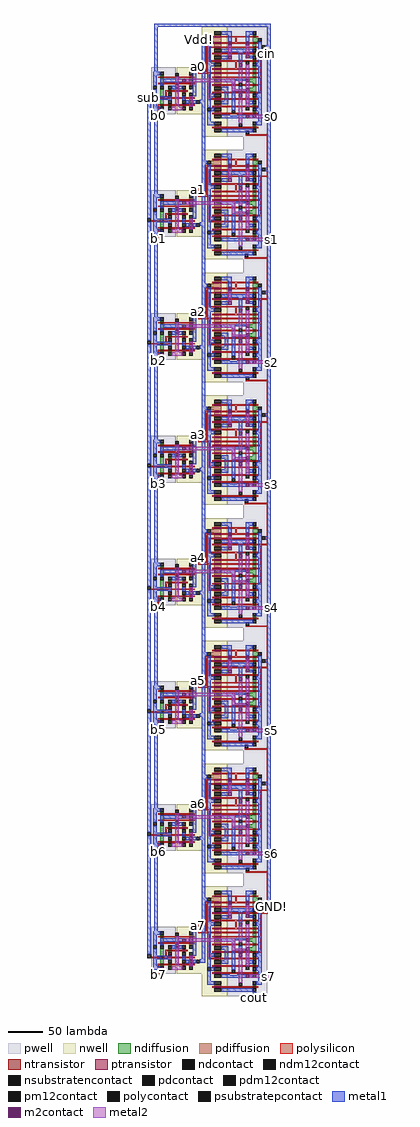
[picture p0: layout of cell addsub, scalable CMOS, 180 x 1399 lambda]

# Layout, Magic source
magic
tech scmos
<< pwell >>
rect -7 1117 -5 1119
rect 1 1107 3 1109
rect -7 941 -5 943
rect -7 765 -5 767
rect -7 589 -5 591
rect -7 413 -5 415
rect -7 237 -5 239
rect -7 61 -5 63
rect 124 -161 158 1220
rect 124 -169 126 -161
<< polysilicon >>
rect 155 1181 160 1183
rect 59 1155 61 1165
rect 59 1153 67 1155
rect -9 1117 3 1119
rect 1 1092 3 1109
rect 127 1064 159 1066
rect 157 1007 159 1064
rect 155 1005 159 1007
rect 59 979 61 989
rect 59 977 67 979
rect -9 941 3 943
rect 1 916 3 933
rect 126 888 159 890
rect 157 831 159 888
rect 155 829 159 831
rect 59 803 61 813
rect 59 801 67 803
rect -9 765 3 767
rect 1 740 3 757
rect 127 712 159 714
rect 157 655 159 712
rect 155 653 159 655
rect 59 627 61 637
rect 59 625 67 627
rect -9 589 3 591
rect 1 564 3 581
rect 126 536 159 538
rect 157 479 159 536
rect 155 477 159 479
rect 59 451 61 461
rect 59 449 67 451
rect -9 413 3 415
rect 1 388 3 405
rect 127 360 159 362
rect 157 303 159 360
rect 155 301 159 303
rect 59 275 61 285
rect 59 273 67 275
rect -9 237 3 239
rect 1 212 3 229
rect 126 184 159 186
rect 157 127 159 184
rect 155 125 159 127
rect 59 99 61 109
rect 59 97 67 99
rect -9 61 3 63
rect 1 36 3 53
rect 127 8 159 10
rect 157 -49 159 8
rect 155 -51 159 -49
rect 59 -77 61 -67
rect 59 -79 67 -77
rect -8 -115 3 -113
rect 1 -140 3 -123
<< polycontact >>
rect -14 1117 -9 1122
rect 127 1066 132 1071
rect -14 941 -9 946
rect 126 890 131 895
rect -14 765 -9 770
rect 127 714 132 719
rect -14 589 -9 594
rect 126 538 131 543
rect -14 413 -9 418
rect 127 362 132 367
rect -14 237 -9 242
rect 126 186 131 191
rect -14 61 -9 66
rect 127 10 132 15
rect -14 -115 -8 -109
<< metal1 >>
rect -4 1220 163 1225
rect -4 1155 1 1220
rect 59 1199 72 1204
rect -14 946 -9 1117
rect 64 1116 69 1199
rect 158 1194 163 1220
rect 155 1189 163 1194
rect 61 1111 69 1116
rect -4 979 1 1106
rect 64 1028 69 1111
rect 64 1023 72 1028
rect -14 770 -9 941
rect 64 940 69 1023
rect 158 1018 163 1189
rect 155 1013 163 1018
rect 61 935 69 940
rect -4 803 1 930
rect 64 852 69 935
rect 64 847 72 852
rect -14 594 -9 765
rect 64 764 69 847
rect 158 842 163 1013
rect 155 837 163 842
rect 61 759 69 764
rect -4 627 1 754
rect 64 676 69 759
rect 64 671 72 676
rect -14 418 -9 589
rect 64 588 69 671
rect 158 666 163 837
rect 155 661 163 666
rect 61 583 69 588
rect -4 451 1 578
rect 64 500 69 583
rect 64 495 72 500
rect -14 242 -9 413
rect 64 412 69 495
rect 158 490 163 661
rect 155 485 163 490
rect 61 407 69 412
rect -4 275 1 402
rect 64 324 69 407
rect 64 319 72 324
rect -14 66 -9 237
rect 64 236 69 319
rect 158 314 163 485
rect 155 309 163 314
rect 61 231 69 236
rect -4 99 1 226
rect 64 148 69 231
rect 64 143 72 148
rect -14 -109 -9 61
rect 64 60 69 143
rect 158 138 163 309
rect 155 133 163 138
rect 61 55 69 60
rect -4 -77 1 50
rect 64 -28 69 55
rect 64 -33 72 -28
rect 64 -116 69 -33
rect 158 -38 163 133
rect 155 -43 166 -38
rect 61 -121 69 -116
rect 137 -174 142 -163
<< m2contact >>
rect 36 1141 41 1146
rect 127 1089 132 1094
rect 36 965 41 970
rect 127 913 132 918
rect 36 789 41 794
rect 127 737 132 742
rect 36 613 41 618
rect 127 561 132 566
rect 36 437 41 442
rect 127 385 132 390
rect 36 261 41 266
rect 127 209 132 214
rect 36 85 41 90
rect 127 33 132 38
rect 36 -91 41 -86
rect 127 -143 132 -138
<< metal2 >>
rect 41 1141 67 1146
rect 132 1089 166 1094
rect 41 965 68 970
rect 132 913 166 918
rect 41 789 67 794
rect 132 737 166 742
rect 41 613 67 618
rect 132 561 166 566
rect 41 437 67 442
rect 132 385 166 390
rect 41 261 67 266
rect 132 209 166 214
rect 41 85 67 90
rect 132 33 166 38
rect 41 -91 67 -86
rect 132 -143 161 -138
use addsub_one  addsub_one_7
transform 0 -1 101 -1 0 -7
box 5 -57 162 37
use xor  xor_7
transform 0 1 47 1 0 -192
box 55 -55 122 17
use addsub_one  addsub_one_6
transform 0 -1 101 -1 0 169
box 5 -57 162 37
use xor  xor_6
transform 0 1 47 1 0 -16
box 55 -55 122 17
use xor  xor_5
transform 0 1 47 1 0 160
box 55 -55 122 17
use addsub_one  addsub_one_5
transform 0 -1 101 -1 0 345
box 5 -57 162 37
use xor  xor_4
transform 0 1 47 1 0 336
box 55 -55 122 17
use addsub_one  addsub_one_4
transform 0 -1 101 -1 0 521
box 5 -57 162 37
use addsub_one  addsub_one_3
transform 0 -1 101 -1 0 697
box 5 -57 162 37
use xor  xor_3
transform 0 1 47 1 0 512
box 55 -55 122 17
use addsub_one  addsub_one_2
transform 0 -1 101 -1 0 873
box 5 -57 162 37
use xor  xor_2
transform 0 1 47 1 0 688
box 55 -55 122 17
use addsub_one  addsub_one_1
transform 0 -1 101 -1 0 1049
box 5 -57 162 37
use xor  xor_1
transform 0 1 47 1 0 864
box 55 -55 122 17
use addsub_one  addsub_one_0
transform 0 -1 101 -1 0 1225
box 5 -57 162 37
use xor  xor_0
transform 0 1 47 1 0 1040
box 55 -55 122 17
<< labels >>
rlabel metal2 163 561 166 566 7 s3
rlabel polysilicon 59 634 61 637 7 a3
rlabel polysilicon 1 564 3 567 7 b3
rlabel metal2 163 385 166 390 7 s4
rlabel polysilicon 59 458 61 461 7 a4
rlabel polysilicon 1 388 3 391 7 b4
rlabel metal2 163 209 166 214 7 s5
rlabel polysilicon 59 282 61 285 7 a5
rlabel polysilicon 1 212 3 215 7 b5
rlabel metal2 163 1089 166 1094 7 s0
rlabel metal1 59 1199 64 1204 3 Vdd!
rlabel polysilicon 59 1162 61 1165 7 a0
rlabel polysilicon 1 1092 3 1095 7 b0
rlabel metal2 163 913 166 918 7 s1
rlabel polysilicon 59 986 61 989 7 a1
rlabel polysilicon 1 916 3 919 7 b1
rlabel metal2 163 737 166 742 7 s2
rlabel polysilicon 59 810 61 813 7 a2
rlabel polysilicon 1 740 3 743 7 b2
rlabel metal2 163 33 166 38 7 s6
rlabel polysilicon 59 106 61 109 7 a6
rlabel polysilicon 1 36 3 39 7 b6
rlabel metal1 137 -174 142 -169 1 cout
rlabel metal2 158 -143 161 -138 7 s7
rlabel metal1 163 -43 166 -38 7 GND!
rlabel polysilicon 59 -70 61 -67 7 a7
rlabel polysilicon 1 -140 3 -137 7 b7
rlabel polysilicon 155 1181 158 1183 1 cin
rlabel polycontact -14 1117 -9 1122 3 sub
<< end >>

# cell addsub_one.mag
magic
tech scmos
<< nwell >>
rect 5 0 162 37
<< pwell >>
rect 5 -57 162 0
<< ntransistor >>
rect 18 -41 20 -36
rect 27 -41 29 -36
rect 33 -41 35 -36
rect 42 -41 44 -36
rect 53 -41 55 -36
rect 64 -41 66 -36
rect 70 -41 72 -36
rect 76 -41 78 -36
rect 87 -41 89 -36
rect 98 -41 100 -36
rect 107 -41 109 -36
rect 118 -41 120 -36
rect 128 -41 130 -36
rect 148 -41 150 -36
<< ptransistor >>
rect 18 9 20 19
rect 27 9 29 19
rect 33 9 35 19
rect 42 9 44 19
rect 53 9 55 19
rect 64 9 66 19
rect 70 9 72 19
rect 76 9 78 19
rect 87 9 89 19
rect 98 9 100 19
rect 107 9 109 19
rect 118 9 120 19
rect 128 9 130 19
rect 148 9 150 19
<< ndiffusion >>
rect 79 -36 84 -31
rect 92 -36 97 -31
rect 16 -41 18 -36
rect 20 -41 27 -36
rect 29 -41 33 -36
rect 35 -41 36 -36
rect 41 -41 42 -36
rect 44 -41 46 -36
rect 51 -41 53 -36
rect 55 -41 56 -36
rect 61 -41 64 -36
rect 66 -41 70 -36
rect 72 -41 76 -36
rect 78 -41 87 -36
rect 89 -41 98 -36
rect 100 -41 101 -36
rect 106 -41 107 -36
rect 109 -41 111 -36
rect 116 -41 118 -36
rect 120 -41 121 -36
rect 126 -41 128 -36
rect 130 -41 131 -36
rect 146 -41 148 -36
rect 150 -41 151 -36
rect 21 -44 26 -41
<< pdiffusion >>
rect 21 19 26 24
rect 16 9 18 19
rect 20 9 27 19
rect 29 9 33 19
rect 35 9 36 19
rect 41 9 42 19
rect 44 9 46 19
rect 51 9 53 19
rect 55 9 56 19
rect 61 9 64 19
rect 66 9 70 19
rect 72 9 76 19
rect 78 9 79 19
rect 84 9 87 19
rect 89 9 91 19
rect 96 9 98 19
rect 100 9 101 19
rect 106 9 107 19
rect 109 9 111 19
rect 116 9 118 19
rect 120 9 121 19
rect 126 9 128 19
rect 130 9 131 19
rect 146 9 148 19
rect 150 9 151 19
<< ndcontact >>
rect 79 -31 84 -26
rect 92 -31 97 -26
rect 11 -41 16 -36
rect 36 -41 41 -36
rect 46 -41 51 -36
rect 56 -41 61 -36
rect 101 -41 106 -36
rect 111 -41 116 -36
rect 121 -41 126 -36
rect 131 -41 136 -36
rect 141 -41 146 -36
rect 151 -41 156 -36
rect 21 -49 26 -44
<< pdcontact >>
rect 21 24 26 29
rect 11 9 16 19
rect 36 9 41 19
rect 46 9 51 19
rect 56 9 61 19
rect 79 9 84 19
rect 91 9 96 19
rect 101 9 106 19
rect 111 9 116 19
rect 121 9 126 19
rect 131 9 136 19
rect 141 9 146 19
rect 151 9 156 19
<< psubstratepcontact >>
rect 31 -54 36 -49
<< nsubstratencontact >>
rect 121 24 126 29
<< polysilicon >>
rect 70 32 72 34
rect 27 30 72 32
rect 18 19 20 22
rect 27 19 29 30
rect 70 27 72 30
rect 33 25 55 27
rect 33 19 35 25
rect 42 19 44 22
rect 53 19 55 25
rect 70 25 109 27
rect 64 19 66 22
rect 70 19 72 25
rect 76 19 78 22
rect 87 19 89 22
rect 98 19 100 22
rect 107 19 109 25
rect 118 19 120 22
rect 128 19 130 22
rect 148 19 150 22
rect 18 -11 20 9
rect 27 -11 29 9
rect 18 -13 29 -11
rect 18 -36 20 -13
rect 27 -36 29 -13
rect 33 -36 35 9
rect 42 -36 44 9
rect 53 -11 55 9
rect 64 -11 66 9
rect 53 -13 66 -11
rect 53 -26 55 -13
rect 53 -31 54 -26
rect 53 -36 55 -31
rect 64 -36 66 -13
rect 70 -36 72 9
rect 76 -36 78 9
rect 87 -16 89 9
rect 87 -36 89 -21
rect 98 -36 100 9
rect 107 -36 109 9
rect 118 -26 120 9
rect 128 -6 130 9
rect 129 -11 130 -6
rect 118 -31 119 -26
rect 118 -36 120 -31
rect 128 -36 130 -11
rect 148 -36 150 9
rect 18 -44 20 -41
rect 27 -44 29 -41
rect 33 -44 35 -41
rect 42 -47 44 -41
rect 53 -44 55 -41
rect 64 -44 66 -41
rect 70 -44 72 -41
rect 76 -47 78 -41
rect 87 -44 89 -41
rect 98 -47 100 -41
rect 107 -44 109 -41
rect 118 -44 120 -41
rect 128 -44 130 -41
rect 148 -44 150 -41
rect 42 -49 100 -47
rect 42 -54 44 -49
<< polycontact >>
rect 124 -11 129 -6
<< metal1 >>
rect 26 24 121 29
rect 126 24 146 29
rect 56 19 61 24
rect 101 19 106 24
rect 121 19 126 24
rect 141 19 146 24
rect 11 -1 16 9
rect 11 -6 26 -1
rect 36 -16 41 9
rect 46 -1 51 9
rect 79 -6 84 9
rect 91 4 96 9
rect 111 4 116 9
rect 91 -1 116 4
rect 131 -3 136 9
rect 79 -11 124 -6
rect 36 -21 57 -16
rect 11 -31 26 -26
rect 11 -36 16 -31
rect 36 -36 41 -21
rect 79 -26 82 -11
rect 132 -14 136 -3
rect 90 -21 101 -16
rect 97 -31 116 -26
rect 46 -36 50 -31
rect 111 -36 116 -31
rect 131 -36 136 -14
rect 151 -36 156 9
rect 56 -44 61 -41
rect 101 -44 106 -41
rect 121 -44 126 -41
rect 141 -44 146 -41
rect 26 -49 146 -44
<< m2contact >>
rect 26 -6 31 -1
rect 46 -6 51 -1
rect 57 -21 62 -16
rect 26 -31 31 -26
rect 101 -21 106 -16
rect 45 -31 50 -26
<< pm12contact >>
rect 85 -21 90 -16
rect 54 -31 59 -26
rect 119 -31 124 -26
rect 143 -21 148 -16
<< metal2 >>
rect 31 -6 46 -1
rect 79 -6 84 34
rect 79 -11 97 -6
rect 62 -21 85 -16
rect 94 -26 97 -11
rect 106 -21 143 -16
rect 31 -31 45 -26
rect 59 -31 119 -26
<< labels >>
rlabel metal1 133 -8 135 -7 1 s
rlabel metal1 152 -29 154 -28 1 cout
rlabel polysilicon 42 -54 44 -53 1 cin
rlabel psubstratepcontact 33 -52 34 -51 1 GND!
rlabel polysilicon 70 33 72 34 1 a
rlabel metal2 79 33 84 34 1 b
rlabel metal1 143 26 144 27 1 Vdd!
<< end >>

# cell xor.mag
magic
tech scmos
<< nwell >>
rect 55 -19 122 17
<< pwell >>
rect 55 -55 122 -20
<< ntransistor >>
rect 67 -31 69 -26
rect 87 -31 89 -26
rect 67 -42 69 -37
rect 77 -42 79 -37
rect 98 -42 100 -37
rect 107 -42 109 -37
<< ptransistor >>
rect 67 -1 69 4
rect 77 -1 79 4
rect 98 -1 100 4
rect 107 -1 109 4
rect 67 -11 69 -6
rect 87 -11 89 -6
<< ndiffusion >>
rect 66 -31 67 -26
rect 69 -31 70 -26
rect 86 -31 87 -26
rect 89 -31 91 -26
rect 66 -42 67 -37
rect 69 -42 77 -37
rect 79 -42 91 -37
rect 96 -42 98 -37
rect 100 -42 107 -37
rect 109 -42 111 -37
<< pdiffusion >>
rect 66 -1 67 4
rect 69 -1 70 4
rect 75 -1 77 4
rect 79 -1 81 4
rect 96 -1 98 4
rect 100 -1 101 4
rect 106 -1 107 4
rect 109 -1 111 4
rect 66 -11 67 -6
rect 69 -11 70 -6
rect 86 -11 87 -6
rect 89 -11 91 -6
<< ndcontact >>
rect 70 -31 75 -26
rect 81 -31 86 -26
rect 91 -31 96 -26
rect 61 -42 66 -37
rect 91 -42 96 -37
rect 111 -42 116 -37
<< pdcontact >>
rect 70 -1 75 4
rect 91 -1 96 4
rect 101 -1 106 4
rect 111 -1 116 4
rect 70 -11 75 -6
rect 81 -11 86 -6
rect 91 -11 96 -6
<< psubstratepcontact >>
rect 91 -52 96 -47
<< nsubstratencontact >>
rect 70 9 75 14
<< polysilicon >>
rect 67 4 69 7
rect 77 4 79 7
rect 98 4 100 7
rect 107 4 109 7
rect 67 -6 69 -1
rect 67 -26 69 -11
rect 67 -37 69 -31
rect 77 -33 79 -1
rect 87 -6 89 -3
rect 87 -26 89 -11
rect 87 -33 89 -31
rect 77 -35 89 -33
rect 77 -37 79 -35
rect 98 -37 100 -1
rect 107 -37 109 -1
rect 67 -45 69 -42
rect 77 -45 79 -42
rect 98 -45 100 -42
rect 107 -45 109 -42
<< polycontact >>
rect 93 -21 98 -16
<< metal1 >>
rect 70 4 75 9
rect 81 4 116 9
rect 70 -6 75 -1
rect 75 -11 81 -6
rect 91 -16 96 -11
rect 91 -21 93 -16
rect 91 -26 96 -21
rect 75 -31 81 -26
rect 61 -47 66 -42
rect 76 -47 81 -31
rect 101 -37 106 -1
rect 96 -42 106 -37
rect 111 -47 116 -42
rect 61 -52 91 -47
rect 96 -52 116 -47
<< pm12contact >>
rect 109 -21 114 -16
<< pdm12contact >>
rect 61 -1 66 4
rect 81 -1 86 4
rect 61 -11 66 -6
<< ndm12contact >>
rect 61 -31 66 -26
<< metal2 >>
rect 66 -1 81 4
rect 61 -16 66 -11
rect 61 -21 109 -16
rect 61 -26 66 -21
<< labels >>
rlabel polysilicon 77 -15 79 -13 1 b
rlabel metal1 101 -31 106 -26 1 out
rlabel polysilicon 67 -15 69 -13 1 a
rlabel nsubstratencontact 70 9 75 14 5 Vdd!
rlabel psubstratepcontact 91 -52 96 -47 1 GND!
<< end >>
